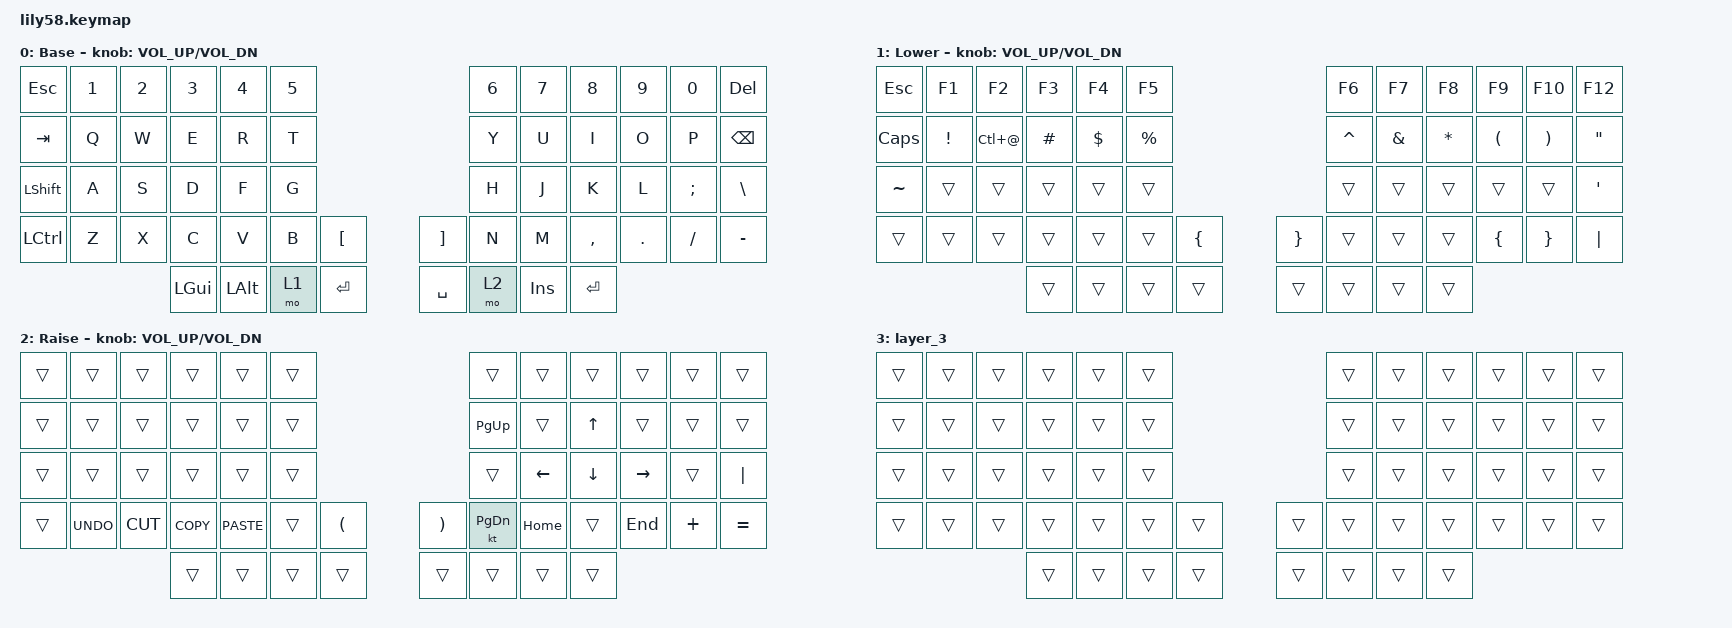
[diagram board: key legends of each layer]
/*
 * Copyright (c) 2020 The ZMK Contributors
 *
 * SPDX-License-Identifier: MIT
 */

#include <behaviors.dtsi>
#include <dt-bindings/zmk/keys.h>

/ {
    keymap {
        compatible = "zmk,keymap";

        default_layer {
            // ------------------------------------------------------------------------------------------------------------
            // |  ESC  |  1  |  2  |  3   |  4   |  5   |                   |  6   |  7    |  8    |  9   |   0   |   `   |
            // |  TAB  |  Q  |  W  |  E   |  R   |  T   |                   |  Y   |  U    |  I    |  O   |   P   |   -   |
            // |  CTRL |  A  |  S  |  D   |  F   |  G   |                   |  H   |  J    |  K    |  L   |   ;   |   '   |
            // | SHIFT |  Z  |  X  |  C   |  V   |  B   |        |  |       |  N   |  M    |  ,    |  .   |   /   | SHIFT |
            //               | "[" | ALT  | GUI  | LOWER|  SPACE |  | ENTER | RAISE| BSPC  | GUI   | "]"  |

            display-name = "Base";
            bindings = <
&kp ESC           &kp N1  &kp N2  &kp N3    &kp N4    &kp N5                                         &kp N6  &kp N7      &kp N8     &kp N9   &kp N0    &kp DEL
&kp TAB           &kp Q   &kp W   &kp E     &kp R     &kp T                                          &kp Y   &kp U       &kp I      &kp O    &kp P     &kp BACKSPACE
&kp LEFT_SHIFT    &kp A   &kp S   &kp D     &kp F     &kp G                                          &kp H   &kp J       &kp K      &kp L    &kp SEMI  &kp BACKSLASH
&kp LEFT_CONTROL  &kp Z   &kp X   &kp C     &kp V     &kp B   &kp LEFT_BRACKET    &kp RIGHT_BRACKET  &kp N   &kp M       &kp COMMA  &kp DOT  &kp FSLH  &kp MINUS
                                  &kp LGUI  &kp LALT  &mo 1   &kp ENTER           &kp SPACE          &mo 2   &kp INSERT  &kp ENTER
            >;

            sensor-bindings = <&inc_dec_kp C_VOL_UP C_VOL_DN>;
        };

        lower_layer {
            // ------------------------------------------------------------------------------------------------------------
            // | BTCLR | BT1 | BT2 |  BT3 |  BT4 |  BT5 |                   |      |       |       |      |       |       |
            // |  F1   |  F2 |  F3 |  F4  |  F5  |  F6  |                   |  F7  |  F8   |  F9   |  F10 |  F11  |  F12  |
            // |   `   |  !  |  @  |  #   |  $   |  %   |                   |  ^   |  &    |  *    |  (   |   )   |   ~   |
            // |       |     |     |      |      |      |        |  |       |      |  _    |  +    |  {   |   }   |  "|"  |
            //                     |      |      |      |        |  |       |      |       |       |

            display-name = "Lower";
            bindings = <
&kp ESC    &kp F1           &kp F2      &kp F3    &kp F4      &kp F5                                          &kp F6     &kp F7         &kp F8        &kp F9                &kp F10                &kp F12
&kp CAPS   &kp EXCLAMATION  &kp LC(AT)  &kp HASH  &kp DOLLAR  &kp PERCENT                                     &kp CARET  &kp AMPERSAND  &kp ASTERISK  &kp LEFT_PARENTHESIS  &kp RIGHT_PARENTHESIS  &kp DOUBLE_QUOTES
&kp TILDE  &trans           &trans      &trans    &trans      &trans                                          &trans     &trans         &trans        &trans                &trans                 &kp SINGLE_QUOTE
&trans     &trans           &trans      &trans    &trans      &trans       &kp LEFT_BRACE    &kp RIGHT_BRACE  &trans     &trans         &trans        &kp LBRC              &kp RBRC               &kp PIPE
                                        &trans    &trans      &trans       &trans            &trans           &trans     &trans         &trans
            >;

            sensor-bindings = <&inc_dec_kp C_VOL_UP C_VOL_DN>;
        };

        raise_layer {
            // ------------------------------------------------------------------------------------------------------------
            // |       |     |     |      |      |      |                   |      |       |       |      |       |       |
            // |   `   |  1  |  2  |  3   |  4   |  5   |                   |  6   |   7   |   8   |  9   |   0   |       |
            // |   F1  |  F2 |  F3 |  F4  |  F5  |  F6  |                   |      |   <-  |   v   |  ^   |  ->   |       |
            // |   F7  |  F8 |  F9 |  F10 |  F11 |  F12 |        |  |       |  +   |   -   |   =   |  [   |   ]   |   \   |
            //                     |      |      |      |        |  |       |      |       |       |

            display-name = "Raise";
            bindings = <
&trans  &trans      &trans     &trans      &trans       &trans                                                 &trans         &trans    &trans        &trans     &trans    &trans
&trans  &trans      &trans     &trans      &trans       &trans                                                 &kp PAGE_UP    &trans    &kp UP_ARROW  &trans     &trans    &trans
&trans  &trans      &trans     &trans      &trans       &trans                                                 &trans         &kp LEFT  &kp DOWN      &kp RIGHT  &trans    &kp PIPE
&trans  &kp K_UNDO  &kp K_CUT  &kp K_COPY  &kp K_PASTE  &trans  &kp LEFT_PARENTHESIS    &kp RIGHT_PARENTHESIS  &kt PAGE_DOWN  &kp HOME  &trans        &kp END    &kp PLUS  &kp EQUAL
                               &trans      &trans       &trans  &trans                  &trans                 &trans         &trans    &trans
            >;

            sensor-bindings = <&inc_dec_kp C_VOL_UP C_VOL_DN>;
        };

        layer_3 {
            bindings = <
&trans  &trans  &trans  &trans  &trans  &trans                    &trans  &trans  &trans  &trans  &trans  &trans
&trans  &trans  &trans  &trans  &trans  &trans                    &trans  &trans  &trans  &trans  &trans  &trans
&trans  &trans  &trans  &trans  &trans  &trans                    &trans  &trans  &trans  &trans  &trans  &trans
&trans  &trans  &trans  &trans  &trans  &trans  &trans    &trans  &trans  &trans  &trans  &trans  &trans  &trans
                        &trans  &trans  &trans  &trans    &trans  &trans  &trans  &trans
            >;
        };
    };
};
